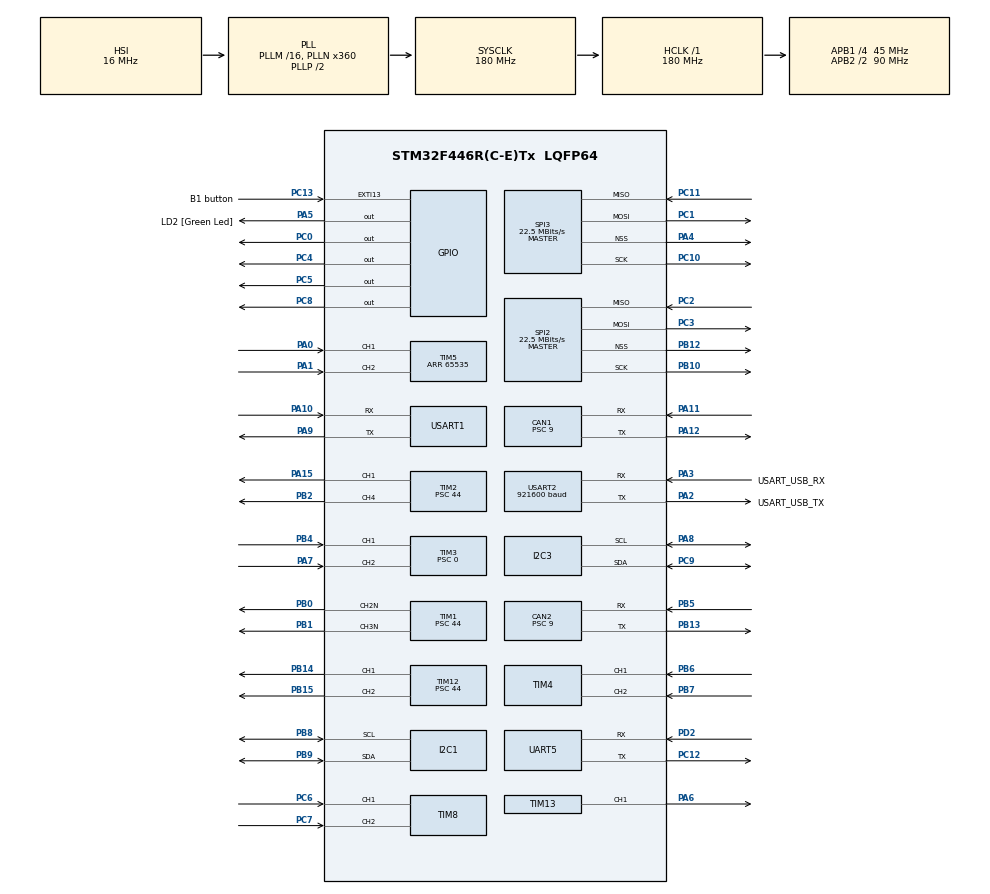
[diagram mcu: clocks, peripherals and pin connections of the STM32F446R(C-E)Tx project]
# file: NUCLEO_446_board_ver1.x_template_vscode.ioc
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CAN1.BS1=CAN_BS1_3TQ
CAN1.BS2=CAN_BS2_1TQ
CAN1.CalculateBaudRate=1000000
CAN1.CalculateTimeBit=1000
CAN1.CalculateTimeQuantum=200.0
CAN1.Prescaler=9
CAN2.BS1=CAN_BS1_3TQ
CAN2.CalculateBaudRate=1000000
CAN2.CalculateTimeBit=1000
CAN2.CalculateTimeQuantum=200.0
CAN2.Prescaler=9
Mcu.Family=STM32F4
Mcu.Name=STM32F446R(C-E)Tx
Mcu.Package=LQFP64
NVIC.CAN1_RX0_IRQn=true\:0\:0\:false\:false\:true\:true\:true\:true
NVIC.CAN1_RX1_IRQn=true\:0\:0\:false\:false\:true\:true\:true\:true
NVIC.CAN2_RX0_IRQn=true\:0\:0\:false\:false\:true\:true\:true\:true
NVIC.CAN2_RX1_IRQn=true\:0\:0\:false\:false\:true\:true\:true\:true
NVIC.PriorityGroup=NVIC_PRIORITYGROUP_0
NVIC.UART5_IRQn=true\:0\:0\:false\:false\:true\:true\:true\:true
NVIC.USART1_IRQn=true\:0\:0\:false\:false\:true\:true\:true\:true
NVIC.USART2_IRQn=true\:0\:0\:false\:false\:true\:true\:true\:true
PA0-WKUP.Signal=S_TIM5_CH1
PA1.Signal=S_TIM5_CH2
PA10.Mode=Asynchronous
PA10.Signal=USART1_RX
PA11.Mode=CAN_Activate
PA11.Signal=CAN1_RX
PA12.Mode=CAN_Activate
PA12.Signal=CAN1_TX
PA13.GPIO_Label=TMS
PA13.Mode=Serial_Wire
PA13.Signal=SYS_JTMS-SWDIO
PA14.GPIO_Label=TCK
PA14.Mode=Serial_Wire
PA14.Signal=SYS_JTCK-SWCLK
PA15.Signal=S_TIM2_CH1_ETR
PA2.GPIO_Label=USART_USB_TX
PA2.Mode=Asynchronous
PA2.Signal=USART2_TX
PA3.GPIO_Label=USART_USB_RX
PA3.Mode=Asynchronous
PA3.Signal=USART2_RX
PA4.Mode=NSS_Signal_Hard_Output
PA4.Signal=SPI3_NSS
PA5.GPIO_Label=LD2 [Green Led]
PA5.PinState=GPIO_PIN_SET
PA5.Signal=GPIO_Output
PA6.Signal=S_TIM13_CH1
PA7.Signal=S_TIM3_CH2
PA8.Mode=I2C
PA8.Signal=I2C3_SCL
PA9.Mode=Asynchronous
PA9.Signal=USART1_TX
PB0.Mode=PWM Generation2 CH2N
PB0.Signal=TIM1_CH2N
PB1.Mode=PWM Generation3 CH3N
PB1.Signal=TIM1_CH3N
PB10.Mode=Full_Duplex_Master
PB10.Signal=SPI2_SCK
PB12.Mode=NSS_Signal_Hard_Output
PB12.Signal=SPI2_NSS
PB13.Mode=CAN_Activate
PB13.Signal=CAN2_TX
PB14.Signal=S_TIM12_CH1
PB15.Signal=S_TIM12_CH2
PB2.Signal=S_TIM2_CH4
PB3.GPIO_Label=SWO
PB3.Signal=SYS_JTDO-SWO
PB4.Signal=S_TIM3_CH1
PB5.Mode=CAN_Activate
PB5.Signal=CAN2_RX
PB6.Signal=S_TIM4_CH1
PB7.Signal=S_TIM4_CH2
PB8.Mode=I2C
PB8.Signal=I2C1_SCL
PB9.Mode=I2C
PB9.Signal=I2C1_SDA
PC0.Signal=GPIO_Output
PC1.Mode=Full_Duplex_Master
PC1.Signal=SPI3_MOSI
PC10.Mode=Full_Duplex_Master
PC10.Signal=SPI3_SCK
PC11.Mode=Full_Duplex_Master
PC11.Signal=SPI3_MISO
PC12.Mode=Asynchronous
PC12.Signal=UART5_TX
PC13.GPIO_Label=B1 button
PC13.GPIO_ModeDefaultEXTI=GPIO_MODE_IT_FALLING
PC13.Signal=GPXTI13
PC14-OSC32_IN.Mode=LSE-External-Oscillator
PC14-OSC32_IN.Signal=RCC_OSC32_IN
PC15-OSC32_OUT.Mode=LSE-External-Oscillator
PC15-OSC32_OUT.Signal=RCC_OSC32_OUT
PC2.Mode=Full_Duplex_Master
PC2.Signal=SPI2_MISO
PC3.Mode=Full_Duplex_Master
PC3.Signal=SPI2_MOSI
PC4.Signal=GPIO_Output
PC5.Signal=GPIO_Output
PC6.Signal=S_TIM8_CH1
PC7.Signal=S_TIM8_CH2
PC8.Signal=GPIO_Output
PC9.Mode=I2C
PC9.Signal=I2C3_SDA
PD2.Mode=Asynchronous
PD2.Signal=UART5_RX
PH0-OSC_IN.Mode=HSE-External-Oscillator
PH0-OSC_IN.Signal=RCC_OSC_IN
PH1-OSC_OUT.Mode=HSE-External-Oscillator
PH1-OSC_OUT.Signal=RCC_OSC_OUT
ProjectManager.HeapSize=0x200
ProjectManager.StackSize=0x400
ProjectManager.TargetToolchain=CMake
RCC.48MHZClocksFreq_Value=84000000
RCC.AHBFreq_Value=180000000
RCC.APB1CLKDivider=RCC_HCLK_DIV4
RCC.APB1Freq_Value=45000000
RCC.APB1TimFreq_Value=90000000
RCC.APB2CLKDivider=RCC_HCLK_DIV2
RCC.APB2Freq_Value=90000000
RCC.APB2TimFreq_Value=180000000
RCC.CortexFreq_Value=180000000
RCC.FLatency-AdvancedSettings=FLASH_LATENCY_5
RCC.HCLKFreq_Value=180000000
RCC.HSE_VALUE=8000000
RCC.HSI_VALUE=16000000
RCC.PLLN=360
RCC.SYSCLKFreq_VALUE=180000000
RCC.SYSCLKSource=RCC_SYSCLKSOURCE_PLLCLK
RCC.USBFreq_Value=180000000
RCC.VCOOutputFreq_Value=360000000
SH.S_TIM12_CH1.0=TIM12_CH1,PWM Generation1 CH1
SH.S_TIM12_CH2.0=TIM12_CH2,PWM Generation2 CH2
SH.S_TIM13_CH1.0=TIM13_CH1,PWM Generation1 CH1
SH.S_TIM2_CH1_ETR.0=TIM2_CH1,PWM Generation1 CH1
SH.S_TIM2_CH4.0=TIM2_CH4,PWM Generation4 CH4
SH.S_TIM3_CH1.0=TIM3_CH1,Encoder_Interface
SH.S_TIM3_CH2.0=TIM3_CH2,Encoder_Interface
SH.S_TIM4_CH1.0=TIM4_CH1,Encoder_Interface
SH.S_TIM4_CH2.0=TIM4_CH2,Encoder_Interface
SH.S_TIM5_CH1.0=TIM5_CH1,Encoder_Interface
SH.S_TIM5_CH2.0=TIM5_CH2,Encoder_Interface
SH.S_TIM8_CH1.0=TIM8_CH1,Encoder_Interface
SH.S_TIM8_CH2.0=TIM8_CH2,Encoder_Interface
SPI2.BaudRatePrescaler=SPI_BAUDRATEPRESCALER_2
SPI2.CalculateBaudRate=22.5 MBits/s
SPI2.Direction=SPI_DIRECTION_2LINES
SPI2.Mode=SPI_MODE_MASTER
SPI2.VirtualNSS=VM_NSSHARD
SPI2.VirtualType=VM_MASTER
SPI3.BaudRatePrescaler=SPI_BAUDRATEPRESCALER_2
SPI3.CalculateBaudRate=22.5 MBits/s
SPI3.Direction=SPI_DIRECTION_2LINES
SPI3.Mode=SPI_MODE_MASTER
SPI3.VirtualNSS=VM_NSSHARD
SPI3.VirtualType=VM_MASTER
TIM1.Channel-PWM\ Generation2\ CH2N=TIM_CHANNEL_2
TIM1.Channel-PWM\ Generation3\ CH3N=TIM_CHANNEL_3
TIM1.Period=99
TIM1.Prescaler=44
TIM12.Channel-PWM\ Generation1\ CH1=TIM_CHANNEL_1
TIM12.Channel-PWM\ Generation2\ CH2=TIM_CHANNEL_2
TIM12.Period=99
TIM12.Prescaler=44
TIM13.Channel=TIM_CHANNEL_1
TIM13.Period=99
TIM13.Prescaler=44
TIM2.Channel-PWM\ Generation1\ CH1=TIM_CHANNEL_1
TIM2.Channel-PWM\ Generation4\ CH4=TIM_CHANNEL_4
TIM2.Period=99
TIM2.Prescaler=44
TIM3.EncoderMode=TIM_ENCODERMODE_TI12
TIM3.Period=65535
TIM3.Prescaler=0
TIM4.EncoderMode=TIM_ENCODERMODE_TI12
TIM5.EncoderMode=TIM_ENCODERMODE_TI12
TIM5.Period=65535
TIM8.EncoderMode=TIM_ENCODERMODE_TI12
UART5.VirtualMode=Asynchronous
USART1.VirtualMode=VM_ASYNC
USART2.BaudRate=921600
USART2.VirtualMode=VM_ASYNC
VP_TIM12_VS_ClockSourceINT.Mode=Internal
VP_TIM13_VS_ClockSourceINT.Mode=Enable_Timer
VP_TIM1_VS_ClockSourceINT.Mode=Internal
VP_TIM2_VS_ClockSourceINT.Mode=Internal
board=NUCLEO-F446RE

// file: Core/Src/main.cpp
/* USER CODE BEGIN Header */
/**
  ******************************************************************************
  * @file           : main.c
  * @brief          : Main program body
  ******************************************************************************
  * @attention
  *
  * Copyright (c) 2025 STMicroelectronics.
  * All rights reserved.
  *
  * This software is licensed under terms that can be found in the LICENSE file
  * in the root directory of this software component.
  * If no LICENSE file comes with this software, it is provided AS-IS.
  *
  ******************************************************************************
  */
/* USER CODE END Header */
#include "main.h"

/* USER CODE BEGIN Includes */
#include <stdio.h>
#include <stdint.h>
#include "stm32f4xx_hal.h"
#include "stm32f4xx_hal_can.h"
#include "RoboMasterOut.h"

#include "timer.hpp"
#include "PWMOut.hpp"
#include "BNO055.hpp"
#include "EncoderIn.hpp"
#include "CANHub.hpp"

/* USER CODE END Includes */

/* USER CODE BEGIN PD */
bool cylinder_poll = 0;
bool cylinder_ring = 0;
int robomasID = 2;
char rev;

/* USER CODE END PD */

CAN_HandleTypeDef hcan1;
CAN_HandleTypeDef hcan2;

I2C_HandleTypeDef hi2c1;
I2C_HandleTypeDef hi2c3;

SPI_HandleTypeDef hspi2;
SPI_HandleTypeDef hspi3;

TIM_HandleTypeDef htim1;
TIM_HandleTypeDef htim2;
TIM_HandleTypeDef htim3;
TIM_HandleTypeDef htim4;
TIM_HandleTypeDef htim5;
TIM_HandleTypeDef htim8;
TIM_HandleTypeDef htim12;
TIM_HandleTypeDef htim13;

UART_HandleTypeDef huart5;
UART_HandleTypeDef huart1;
UART_HandleTypeDef huart2;

void SystemClock_Config(void);
static void MX_GPIO_Init(void);
static void MX_USART2_UART_Init(void);
static void MX_CAN2_Init(void);
static void MX_I2C1_Init(void);
static void MX_I2C3_Init(void);
static void MX_SPI2_Init(void);
static void MX_SPI3_Init(void);
static void MX_TIM1_Init(void);
static void MX_TIM2_Init(void);
static void MX_TIM3_Init(void);
static void MX_TIM4_Init(void);
static void MX_TIM5_Init(void);
static void MX_TIM8_Init(void);
static void MX_TIM12_Init(void);
static void MX_TIM13_Init(void);
static void MX_UART5_Init(void);
static void MX_USART1_UART_Init(void);
static void MX_CAN1_Init(void);

/* USER CODE BEGIN 0 */
// On EXTI (External Interrupt) change detection
void HAL_GPIO_EXTI_Callback(uint16_t GPIO_Pin) {

  // Example for button press handling (Falling edge triggered)
  // if (GPIO_Pin == B1_button_Pin) {
      //  printf("Button Pressed!\n");

      // When you configure the button GPIO with interrupt on both Rising/Falling edges:
      // if (HAL_GPIO_ReadPin(B1_button_GPIO_Port, B1_button_Pin) == GPIO_PIN_SET) {
      //     // Rising edge detected
      //     printf("Button Released!\n");
      // } else {
      //     // Falling edge detected
      //     printf("Button Pressed!\n");
      // }
  }

/* USER CODE END 0 */

int main(void)
{

  /* MCU Configuration--------------------------------------------------------*/

  /* Reset of all peripherals, Initializes the Flash interface and the Systick. */
  HAL_Init();

  /* Configure the system clock */
  SystemClock_Config();

  /* Initialize all configured peripherals */
  MX_GPIO_Init();
  MX_USART2_UART_Init();
  MX_CAN2_Init();
  MX_I2C1_Init();
  MX_I2C3_Init();
  MX_SPI2_Init();
  MX_SPI3_Init();
  MX_TIM1_Init();
  MX_TIM2_Init();
  MX_TIM3_Init();
  MX_TIM4_Init();
  MX_TIM5_Init();
  MX_TIM8_Init();
  MX_TIM12_Init();
  MX_TIM13_Init();
  MX_UART5_Init();
  MX_USART1_UART_Init();
  MX_CAN1_Init();
  /* USER CODE BEGIN 2 */

  // Enable EXTI interrupt
  HAL_NVIC_EnableIRQ(EXTI15_10_IRQn);

  static const float PERIOD_MAIN_LOOP_US = 10000;  // 10 ms

  // Example: Initialize instances for peripherals (after peripherals initialized)
  PWMOut pwm1(&htim1, TIM_CHANNEL_2);
  EncoderIn encoder1(&htim3);
  BNO055 bno055(hi2c1);
  CANHub can2(&hcan2);
  CANHub can1(&hcan1);                 // 受信確認のためCAN1も開く
  RoboMasterOut robomas(&can2);

  // デバッグ: CAN1でも受信が発生したら表示
  can1.attach([&](CANHub &c){
      // 空ハンドラ、rxIrqHandlerでログ済み
  });

  float duty = 0.5;
  int angle_sum;

  /* USER CODE END 2 */

  /* Infinite loop */
  /* USER CODE BEGIN WHILE */
  while (1)
  {

    HAL_GPIO_WritePin(LD2_GPIO_Port, LD2_Pin, HAL_GPIO_ReadPin(B1_button_GPIO_Port, B1_button_Pin) != GPIO_PIN_SET ? GPIO_PIN_SET : GPIO_PIN_RESET);

  // RoboMasterState state = robomas.read(robomasID, RoboMasterOut::C610);

    // HAL_Delay(10);
    if(HAL_UART_Receive(&huart2, (uint8_t *)&rev, 1, 1) == HAL_OK){
       if(rev == 'u'){duty += 0.02;}
       else if(rev == 'd'){duty -= 0.02;}
       else if(rev == 'r'){duty = 0.5;}

       if(rev == 'a'){cylinder_poll = !cylinder_poll;}
       else if(rev == 'b'){cylinder_ring = !cylinder_ring;}

    }
    HAL_GPIO_WritePin(GPIOC, GPIO_PIN_8, cylinder_poll ? GPIO_PIN_SET : GPIO_PIN_RESET);
    HAL_GPIO_WritePin(GPIOC, GPIO_PIN_5, cylinder_ring ? GPIO_PIN_SET : GPIO_PIN_RESET);
    robomas.write(robomasID, duty, RoboMasterOut::C610);
    robomas.update();
    RoboMasterState state = robomas.read(robomasID, RoboMasterOut::C610);

    // printf("duty: %f, angle: %d\r\n", duty, state.angle);
    angle_sum = state.total_rotation * 8192 + state.angle;

    printf("duty: %f, angle: %d, total angle: %d\r\n", duty, state.angle, angle_sum);
    // angle_pre = state.angle;
    // printf("duty: %f, angle: %d\r\n", duty,  state.angle);
    // printf("poll cylinder: %d , ring cylinder: %d\n", cylinder_poll, cylinder_ring);

    /* USER CODE END WHILE */

    /* USER CODE BEGIN 3 */

    adjustCycle(PERIOD_MAIN_LOOP_US);
  }
  /* USER CODE END 3 */
}

void SystemClock_Config(void)
{
  RCC_OscInitTypeDef RCC_OscInitStruct = {0};
  RCC_ClkInitTypeDef RCC_ClkInitStruct = {0};

  /** Configure the main internal regulator output voltage
  */
  __HAL_RCC_PWR_CLK_ENABLE();
  __HAL_PWR_VOLTAGESCALING_CONFIG(PWR_REGULATOR_VOLTAGE_SCALE1);

  /** Initializes the RCC Oscillators according to the specified parameters
  * in the RCC_OscInitTypeDef structure.
  */
  RCC_OscInitStruct.OscillatorType = RCC_OSCILLATORTYPE_HSI;
  RCC_OscInitStruct.HSIState = RCC_HSI_ON;
  RCC_OscInitStruct.HSICalibrationValue = RCC_HSICALIBRATION_DEFAULT;
  RCC_OscInitStruct.PLL.PLLState = RCC_PLL_ON;
  RCC_OscInitStruct.PLL.PLLSource = RCC_PLLSOURCE_HSI;
  RCC_OscInitStruct.PLL.PLLM = 16;
  RCC_OscInitStruct.PLL.PLLN = 360;
  RCC_OscInitStruct.PLL.PLLP = RCC_PLLP_DIV2;
  RCC_OscInitStruct.PLL.PLLQ = 2;
  RCC_OscInitStruct.PLL.PLLR = 2;
  if (HAL_RCC_OscConfig(&RCC_OscInitStruct) != HAL_OK)
  {
    Error_Handler();
  }

  /** Activate the Over-Drive mode
  */
  if (HAL_PWREx_EnableOverDrive() != HAL_OK)
  {
    Error_Handler();
  }

  /** Initializes the CPU, AHB and APB buses clocks
  */
  RCC_ClkInitStruct.ClockType = RCC_CLOCKTYPE_HCLK|RCC_CLOCKTYPE_SYSCLK
                              |RCC_CLOCKTYPE_PCLK1|RCC_CLOCKTYPE_PCLK2;
  RCC_ClkInitStruct.SYSCLKSource = RCC_SYSCLKSOURCE_PLLCLK;
  RCC_ClkInitStruct.AHBCLKDivider = RCC_SYSCLK_DIV1;
  RCC_ClkInitStruct.APB1CLKDivider = RCC_HCLK_DIV4;
  RCC_ClkInitStruct.APB2CLKDivider = RCC_HCLK_DIV2;

  if (HAL_RCC_ClockConfig(&RCC_ClkInitStruct, FLASH_LATENCY_5) != HAL_OK)
  {
    Error_Handler();
  }
}

static void MX_CAN1_Init(void)
{

  hcan1.Instance = CAN1;
  hcan1.Init.Prescaler = 9;
  hcan1.Init.Mode = CAN_MODE_NORMAL;
  hcan1.Init.SyncJumpWidth = CAN_SJW_1TQ;
  hcan1.Init.TimeSeg1 = CAN_BS1_3TQ;
  hcan1.Init.TimeSeg2 = CAN_BS2_1TQ;
  hcan1.Init.TimeTriggeredMode = DISABLE;
  hcan1.Init.AutoBusOff = DISABLE;
  hcan1.Init.AutoWakeUp = DISABLE;
  hcan1.Init.AutoRetransmission = DISABLE;
  hcan1.Init.ReceiveFifoLocked = DISABLE;
  hcan1.Init.TransmitFifoPriority = DISABLE;
  if (HAL_CAN_Init(&hcan1) != HAL_OK)
  {
    Error_Handler();
  }

}

static void MX_CAN2_Init(void)
{

  hcan2.Instance = CAN2;
  hcan2.Init.Prescaler = 9;
  hcan2.Init.Mode = CAN_MODE_NORMAL;
  hcan2.Init.SyncJumpWidth = CAN_SJW_1TQ;
  hcan2.Init.TimeSeg1 = CAN_BS1_3TQ;
  hcan2.Init.TimeSeg2 = CAN_BS2_1TQ;
  hcan2.Init.TimeTriggeredMode = DISABLE;
  hcan2.Init.AutoBusOff = DISABLE;
  hcan2.Init.AutoWakeUp = DISABLE;
  hcan2.Init.AutoRetransmission = DISABLE;
  hcan2.Init.ReceiveFifoLocked = DISABLE;
  hcan2.Init.TransmitFifoPriority = DISABLE;
  if (HAL_CAN_Init(&hcan2) != HAL_OK)
  {
    Error_Handler();
  }

}

static void MX_I2C1_Init(void)
{

  hi2c1.Instance = I2C1;
  hi2c1.Init.ClockSpeed = 100000;
  hi2c1.Init.DutyCycle = I2C_DUTYCYCLE_2;
  hi2c1.Init.OwnAddress1 = 0;
  hi2c1.Init.AddressingMode = I2C_ADDRESSINGMODE_7BIT;
  hi2c1.Init.DualAddressMode = I2C_DUALADDRESS_DISABLE;
  hi2c1.Init.OwnAddress2 = 0;
  hi2c1.Init.GeneralCallMode = I2C_GENERALCALL_DISABLE;
  hi2c1.Init.NoStretchMode = I2C_NOSTRETCH_DISABLE;
  if (HAL_I2C_Init(&hi2c1) != HAL_OK)
  {
    Error_Handler();
  }

}

static void MX_I2C3_Init(void)
{

  hi2c3.Instance = I2C3;
  hi2c3.Init.ClockSpeed = 100000;
  hi2c3.Init.DutyCycle = I2C_DUTYCYCLE_2;
  hi2c3.Init.OwnAddress1 = 0;
  hi2c3.Init.AddressingMode = I2C_ADDRESSINGMODE_7BIT;
  hi2c3.Init.DualAddressMode = I2C_DUALADDRESS_DISABLE;
  hi2c3.Init.OwnAddress2 = 0;
  hi2c3.Init.GeneralCallMode = I2C_GENERALCALL_DISABLE;
  hi2c3.Init.NoStretchMode = I2C_NOSTRETCH_DISABLE;
  if (HAL_I2C_Init(&hi2c3) != HAL_OK)
  {
    Error_Handler();
  }

}

static void MX_SPI2_Init(void)
{

  /* SPI2 parameter configuration*/
  hspi2.Instance = SPI2;
  hspi2.Init.Mode = SPI_MODE_MASTER;
  hspi2.Init.Direction = SPI_DIRECTION_2LINES;
  hspi2.Init.DataSize = SPI_DATASIZE_8BIT;
  hspi2.Init.CLKPolarity = SPI_POLARITY_LOW;
  hspi2.Init.CLKPhase = SPI_PHASE_1EDGE;
  hspi2.Init.NSS = SPI_NSS_HARD_OUTPUT;
  hspi2.Init.BaudRatePrescaler = SPI_BAUDRATEPRESCALER_2;
  hspi2.Init.FirstBit = SPI_FIRSTBIT_MSB;
  hspi2.Init.TIMode = SPI_TIMODE_DISABLE;
  hspi2.Init.CRCCalculation = SPI_CRCCALCULATION_DISABLE;
  hspi2.Init.CRCPolynomial = 10;
  if (HAL_SPI_Init(&hspi2) != HAL_OK)
  {
    Error_Handler();
  }

}

static void MX_SPI3_Init(void)
{

  /* SPI3 parameter configuration*/
  hspi3.Instance = SPI3;
  hspi3.Init.Mode = SPI_MODE_MASTER;
  hspi3.Init.Direction = SPI_DIRECTION_2LINES;
  hspi3.Init.DataSize = SPI_DATASIZE_8BIT;
  hspi3.Init.CLKPolarity = SPI_POLARITY_LOW;
  hspi3.Init.CLKPhase = SPI_PHASE_1EDGE;
  hspi3.Init.NSS = SPI_NSS_HARD_OUTPUT;
  hspi3.Init.BaudRatePrescaler = SPI_BAUDRATEPRESCALER_2;
  hspi3.Init.FirstBit = SPI_FIRSTBIT_MSB;
  hspi3.Init.TIMode = SPI_TIMODE_DISABLE;
  hspi3.Init.CRCCalculation = SPI_CRCCALCULATION_DISABLE;
  hspi3.Init.CRCPolynomial = 10;
  if (HAL_SPI_Init(&hspi3) != HAL_OK)
  {
    Error_Handler();
  }

}

static void MX_TIM1_Init(void)
{

  TIM_ClockConfigTypeDef sClockSourceConfig = {0};
  TIM_MasterConfigTypeDef sMasterConfig = {0};
  TIM_OC_InitTypeDef sConfigOC = {0};
  TIM_BreakDeadTimeConfigTypeDef sBreakDeadTimeConfig = {0};

  htim1.Instance = TIM1;
  htim1.Init.Prescaler = 44;
  htim1.Init.CounterMode = TIM_COUNTERMODE_UP;
  htim1.Init.Period = 99;
  htim1.Init.ClockDivision = TIM_CLOCKDIVISION_DIV1;
  htim1.Init.RepetitionCounter = 0;
  htim1.Init.AutoReloadPreload = TIM_AUTORELOAD_PRELOAD_DISABLE;
  if (HAL_TIM_Base_Init(&htim1) != HAL_OK)
  {
    Error_Handler();
  }
  sClockSourceConfig.ClockSource = TIM_CLOCKSOURCE_INTERNAL;
  if (HAL_TIM_ConfigClockSource(&htim1, &sClockSourceConfig) != HAL_OK)
  {
    Error_Handler();
  }
  if (HAL_TIM_PWM_Init(&htim1) != HAL_OK)
  {
    Error_Handler();
  }
  sMasterConfig.MasterOutputTrigger = TIM_TRGO_RESET;
  sMasterConfig.MasterSlaveMode = TIM_MASTERSLAVEMODE_DISABLE;
  if (HAL_TIMEx_MasterConfigSynchronization(&htim1, &sMasterConfig) != HAL_OK)
  {
    Error_Handler();
  }
  sConfigOC.OCMode = TIM_OCMODE_PWM1;
  sConfigOC.Pulse = 0;
  sConfigOC.OCPolarity = TIM_OCPOLARITY_HIGH;
  sConfigOC.OCNPolarity = TIM_OCNPOLARITY_HIGH;
  sConfigOC.OCFastMode = TIM_OCFAST_DISABLE;
  sConfigOC.OCIdleState = TIM_OCIDLESTATE_RESET;
  sConfigOC.OCNIdleState = TIM_OCNIDLESTATE_RESET;
  if (HAL_TIM_PWM_ConfigChannel(&htim1, &sConfigOC, TIM_CHANNEL_2) != HAL_OK)
  {
    Error_Handler();
  }
  if (HAL_TIM_PWM_ConfigChannel(&htim1, &sConfigOC, TIM_CHANNEL_3) != HAL_OK)
  {
    Error_Handler();
  }
  sBreakDeadTimeConfig.OffStateRunMode = TIM_OSSR_DISABLE;
  sBreakDeadTimeConfig.OffStateIDLEMode = TIM_OSSI_DISABLE;
  sBreakDeadTimeConfig.LockLevel = TIM_LOCKLEVEL_OFF;
  sBreakDeadTimeConfig.DeadTime = 0;
  sBreakDeadTimeConfig.BreakState = TIM_BREAK_DISABLE;
  sBreakDeadTimeConfig.BreakPolarity = TIM_BREAKPOLARITY_HIGH;
  sBreakDeadTimeConfig.AutomaticOutput = TIM_AUTOMATICOUTPUT_DISABLE;
  if (HAL_TIMEx_ConfigBreakDeadTime(&htim1, &sBreakDeadTimeConfig) != HAL_OK)
  {
    Error_Handler();
  }
  HAL_TIM_MspPostInit(&htim1);

}

static void MX_TIM2_Init(void)
{

  TIM_ClockConfigTypeDef sClockSourceConfig = {0};
  TIM_MasterConfigTypeDef sMasterConfig = {0};
  TIM_OC_InitTypeDef sConfigOC = {0};

  htim2.Instance = TIM2;
  htim2.Init.Prescaler = 44;
  htim2.Init.CounterMode = TIM_COUNTERMODE_UP;
  htim2.Init.Period = 99;
  htim2.Init.ClockDivision = TIM_CLOCKDIVISION_DIV1;
  htim2.Init.AutoReloadPreload = TIM_AUTORELOAD_PRELOAD_DISABLE;
  if (HAL_TIM_Base_Init(&htim2) != HAL_OK)
  {
    Error_Handler();
  }
  sClockSourceConfig.ClockSource = TIM_CLOCKSOURCE_INTERNAL;
  if (HAL_TIM_ConfigClockSource(&htim2, &sClockSourceConfig) != HAL_OK)
  {
    Error_Handler();
  }
  if (HAL_TIM_PWM_Init(&htim2) != HAL_OK)
  {
    Error_Handler();
  }
  sMasterConfig.MasterOutputTrigger = TIM_TRGO_RESET;
  sMasterConfig.MasterSlaveMode = TIM_MASTERSLAVEMODE_DISABLE;
  if (HAL_TIMEx_MasterConfigSynchronization(&htim2, &sMasterConfig) != HAL_OK)
  {
    Error_Handler();
  }
  sConfigOC.OCMode = TIM_OCMODE_PWM1;
  sConfigOC.Pulse = 0;
  sConfigOC.OCPolarity = TIM_OCPOLARITY_HIGH;
  sConfigOC.OCFastMode = TIM_OCFAST_DISABLE;
  if (HAL_TIM_PWM_ConfigChannel(&htim2, &sConfigOC, TIM_CHANNEL_1) != HAL_OK)
  {
    Error_Handler();
  }
  if (HAL_TIM_PWM_ConfigChannel(&htim2, &sConfigOC, TIM_CHANNEL_4) != HAL_OK)
  {
    Error_Handler();
  }
  HAL_TIM_MspPostInit(&htim2);

}

static void MX_TIM3_Init(void)
{

  TIM_Encoder_InitTypeDef sConfig = {0};
  TIM_MasterConfigTypeDef sMasterConfig = {0};

  htim3.Instance = TIM3;
  htim3.Init.Prescaler = 0;
  htim3.Init.CounterMode = TIM_COUNTERMODE_UP;
  htim3.Init.Period = 65535;
  htim3.Init.ClockDivision = TIM_CLOCKDIVISION_DIV1;
  htim3.Init.AutoReloadPreload = TIM_AUTORELOAD_PRELOAD_DISABLE;
  sConfig.EncoderMode = TIM_ENCODERMODE_TI12;
  sConfig.IC1Polarity = TIM_ICPOLARITY_RISING;
  sConfig.IC1Selection = TIM_ICSELECTION_DIRECTTI;
  sConfig.IC1Prescaler = TIM_ICPSC_DIV1;
  sConfig.IC1Filter = 0;
  sConfig.IC2Polarity = TIM_ICPOLARITY_RISING;
  sConfig.IC2Selection = TIM_ICSELECTION_DIRECTTI;
  sConfig.IC2Prescaler = TIM_ICPSC_DIV1;
  sConfig.IC2Filter = 0;
  if (HAL_TIM_Encoder_Init(&htim3, &sConfig) != HAL_OK)
  {
    Error_Handler();
  }
  sMasterConfig.MasterOutputTrigger = TIM_TRGO_RESET;
  sMasterConfig.MasterSlaveMode = TIM_MASTERSLAVEMODE_DISABLE;
  if (HAL_TIMEx_MasterConfigSynchronization(&htim3, &sMasterConfig) != HAL_OK)
  {
    Error_Handler();
  }

}

static void MX_TIM4_Init(void)
{

  TIM_Encoder_InitTypeDef sConfig = {0};
  TIM_MasterConfigTypeDef sMasterConfig = {0};

  htim4.Instance = TIM4;
  htim4.Init.Prescaler = 0;
  htim4.Init.CounterMode = TIM_COUNTERMODE_UP;
  htim4.Init.Period = 65535;
  htim4.Init.ClockDivision = TIM_CLOCKDIVISION_DIV1;
  htim4.Init.AutoReloadPreload = TIM_AUTORELOAD_PRELOAD_DISABLE;
  sConfig.EncoderMode = TIM_ENCODERMODE_TI12;
  sConfig.IC1Polarity = TIM_ICPOLARITY_RISING;
  sConfig.IC1Selection = TIM_ICSELECTION_DIRECTTI;
  sConfig.IC1Prescaler = TIM_ICPSC_DIV1;
  sConfig.IC1Filter = 0;
  sConfig.IC2Polarity = TIM_ICPOLARITY_RISING;
  sConfig.IC2Selection = TIM_ICSELECTION_DIRECTTI;
  sConfig.IC2Prescaler = TIM_ICPSC_DIV1;
  sConfig.IC2Filter = 0;
  if (HAL_TIM_Encoder_Init(&htim4, &sConfig) != HAL_OK)
  {
    Error_Handler();
  }
  sMasterConfig.MasterOutputTrigger = TIM_TRGO_RESET;
  sMasterConfig.MasterSlaveMode = TIM_MASTERSLAVEMODE_DISABLE;
  if (HAL_TIMEx_MasterConfigSynchronization(&htim4, &sMasterConfig) != HAL_OK)
  {
    Error_Handler();
  }

}

static void MX_TIM5_Init(void)
{

  TIM_Encoder_InitTypeDef sConfig = {0};
  TIM_MasterConfigTypeDef sMasterConfig = {0};

  htim5.Instance = TIM5;
  htim5.Init.Prescaler = 0;
  htim5.Init.CounterMode = TIM_COUNTERMODE_UP;
  htim5.Init.Period = 65535;
  htim5.Init.ClockDivision = TIM_CLOCKDIVISION_DIV1;
  htim5.Init.AutoReloadPreload = TIM_AUTORELOAD_PRELOAD_DISABLE;
  sConfig.EncoderMode = TIM_ENCODERMODE_TI12;
  sConfig.IC1Polarity = TIM_ICPOLARITY_RISING;
  sConfig.IC1Selection = TIM_ICSELECTION_DIRECTTI;
  sConfig.IC1Prescaler = TIM_ICPSC_DIV1;
  sConfig.IC1Filter = 0;
  sConfig.IC2Polarity = TIM_ICPOLARITY_RISING;
  sConfig.IC2Selection = TIM_ICSELECTION_DIRECTTI;
  sConfig.IC2Prescaler = TIM_ICPSC_DIV1;
  sConfig.IC2Filter = 0;
  if (HAL_TIM_Encoder_Init(&htim5, &sConfig) != HAL_OK)
  {
    Error_Handler();
  }
  sMasterConfig.MasterOutputTrigger = TIM_TRGO_RESET;
  sMasterConfig.MasterSlaveMode = TIM_MASTERSLAVEMODE_DISABLE;
  if (HAL_TIMEx_MasterConfigSynchronization(&htim5, &sMasterConfig) != HAL_OK)
  {
    Error_Handler();
  }

}

static void MX_TIM8_Init(void)
{

  TIM_Encoder_InitTypeDef sConfig = {0};
  TIM_MasterConfigTypeDef sMasterConfig = {0};

  htim8.Instance = TIM8;
  htim8.Init.Prescaler = 0;
  htim8.Init.CounterMode = TIM_COUNTERMODE_UP;
  htim8.Init.Period = 65535;
  htim8.Init.ClockDivision = TIM_CLOCKDIVISION_DIV1;
  htim8.Init.RepetitionCounter = 0;
  htim8.Init.AutoReloadPreload = TIM_AUTORELOAD_PRELOAD_DISABLE;
  sConfig.EncoderMode = TIM_ENCODERMODE_TI12;
  sConfig.IC1Polarity = TIM_ICPOLARITY_RISING;
  sConfig.IC1Selection = TIM_ICSELECTION_DIRECTTI;
  sConfig.IC1Prescaler = TIM_ICPSC_DIV1;
  sConfig.IC1Filter = 0;
  sConfig.IC2Polarity = TIM_ICPOLARITY_RISING;
  sConfig.IC2Selection = TIM_ICSELECTION_DIRECTTI;
  sConfig.IC2Prescaler = TIM_ICPSC_DIV1;
  sConfig.IC2Filter = 0;
  if (HAL_TIM_Encoder_Init(&htim8, &sConfig) != HAL_OK)
  {
    Error_Handler();
  }
  sMasterConfig.MasterOutputTrigger = TIM_TRGO_RESET;
  sMasterConfig.MasterSlaveMode = TIM_MASTERSLAVEMODE_DISABLE;
  if (HAL_TIMEx_MasterConfigSynchronization(&htim8, &sMasterConfig) != HAL_OK)
  {
    Error_Handler();
  }

}

static void MX_TIM12_Init(void)
{

  TIM_ClockConfigTypeDef sClockSourceConfig = {0};
  TIM_OC_InitTypeDef sConfigOC = {0};

  htim12.Instance = TIM12;
  htim12.Init.Prescaler = 44;
  htim12.Init.CounterMode = TIM_COUNTERMODE_UP;
  htim12.Init.Period = 99;
  htim12.Init.ClockDivision = TIM_CLOCKDIVISION_DIV1;
  htim12.Init.AutoReloadPreload = TIM_AUTORELOAD_PRELOAD_DISABLE;
  if (HAL_TIM_Base_Init(&htim12) != HAL_OK)
  {
    Error_Handler();
  }
  sClockSourceConfig.ClockSource = TIM_CLOCKSOURCE_INTERNAL;
  if (HAL_TIM_ConfigClockSource(&htim12, &sClockSourceConfig) != HAL_OK)
  {
    Error_Handler();
  }
  if (HAL_TIM_PWM_Init(&htim12) != HAL_OK)
  {
    Error_Handler();
  }
  sConfigOC.OCMode = TIM_OCMODE_PWM1;
  sConfigOC.Pulse = 0;
  sConfigOC.OCPolarity = TIM_OCPOLARITY_HIGH;
  sConfigOC.OCFastMode = TIM_OCFAST_DISABLE;
  if (HAL_TIM_PWM_ConfigChannel(&htim12, &sConfigOC, TIM_CHANNEL_1) != HAL_OK)
  {
    Error_Handler();
  }
  if (HAL_TIM_PWM_ConfigChannel(&htim12, &sConfigOC, TIM_CHANNEL_2) != HAL_OK)
  {
    Error_Handler();
  }
  HAL_TIM_MspPostInit(&htim12);

}

static void MX_TIM13_Init(void)
{

  TIM_OC_InitTypeDef sConfigOC = {0};

  htim13.Instance = TIM13;
  htim13.Init.Prescaler = 44;
  htim13.Init.CounterMode = TIM_COUNTERMODE_UP;
  htim13.Init.Period = 99;
  htim13.Init.ClockDivision = TIM_CLOCKDIVISION_DIV1;
  htim13.Init.AutoReloadPreload = TIM_AUTORELOAD_PRELOAD_DISABLE;
  if (HAL_TIM_Base_Init(&htim13) != HAL_OK)
  {
    Error_Handler();
  }
  if (HAL_TIM_PWM_Init(&htim13) != HAL_OK)
  {
    Error_Handler();
  }
  sConfigOC.OCMode = TIM_OCMODE_PWM1;
  sConfigOC.Pulse = 0;
  sConfigOC.OCPolarity = TIM_OCPOLARITY_HIGH;
  sConfigOC.OCFastMode = TIM_OCFAST_DISABLE;
  if (HAL_TIM_PWM_ConfigChannel(&htim13, &sConfigOC, TIM_CHANNEL_1) != HAL_OK)
  {
    Error_Handler();
  }
  HAL_TIM_MspPostInit(&htim13);

}

static void MX_UART5_Init(void)
{

  huart5.Instance = UART5;
  huart5.Init.BaudRate = 115200;
  huart5.Init.WordLength = UART_WORDLENGTH_8B;
  huart5.Init.StopBits = UART_STOPBITS_1;
  huart5.Init.Parity = UART_PARITY_NONE;
  huart5.Init.Mode = UART_MODE_TX_RX;
  huart5.Init.HwFlowCtl = UART_HWCONTROL_NONE;
  huart5.Init.OverSampling = UART_OVERSAMPLING_16;
  if (HAL_UART_Init(&huart5) != HAL_OK)
  {
    Error_Handler();
  }

}

static void MX_USART1_UART_Init(void)
{

  huart1.Instance = USART1;
  huart1.Init.BaudRate = 115200;
  huart1.Init.WordLength = UART_WORDLENGTH_8B;
  huart1.Init.StopBits = UART_STOPBITS_1;
  huart1.Init.Parity = UART_PARITY_NONE;
  huart1.Init.Mode = UART_MODE_TX_RX;
  huart1.Init.HwFlowCtl = UART_HWCONTROL_NONE;
  huart1.Init.OverSampling = UART_OVERSAMPLING_16;
  if (HAL_UART_Init(&huart1) != HAL_OK)
  {
    Error_Handler();
  }

}

static void MX_USART2_UART_Init(void)
{

  huart2.Instance = USART2;
  huart2.Init.BaudRate = 921600;
  huart2.Init.WordLength = UART_WORDLENGTH_8B;
  huart2.Init.StopBits = UART_STOPBITS_1;
  huart2.Init.Parity = UART_PARITY_NONE;
  huart2.Init.Mode = UART_MODE_TX_RX;
  huart2.Init.HwFlowCtl = UART_HWCONTROL_NONE;
  huart2.Init.OverSampling = UART_OVERSAMPLING_16;
  if (HAL_UART_Init(&huart2) != HAL_OK)
  {
    Error_Handler();
  }

}

static void MX_GPIO_Init(void)
{
  GPIO_InitTypeDef GPIO_InitStruct = {0};

  /* GPIO Ports Clock Enable */
  __HAL_RCC_GPIOC_CLK_ENABLE();
  __HAL_RCC_GPIOH_CLK_ENABLE();
  __HAL_RCC_GPIOA_CLK_ENABLE();
  __HAL_RCC_GPIOB_CLK_ENABLE();
  __HAL_RCC_GPIOD_CLK_ENABLE();

  /*Configure GPIO pin Output Level */
  HAL_GPIO_WritePin(GPIOC, GPIO_PIN_0|GPIO_PIN_4|GPIO_PIN_5|GPIO_PIN_8, GPIO_PIN_RESET);

  /*Configure GPIO pin Output Level */
  HAL_GPIO_WritePin(LD2_GPIO_Port, LD2_Pin, GPIO_PIN_SET);

  /*Configure GPIO pin : B1_button_Pin */
  GPIO_InitStruct.Pin = B1_button_Pin;
  GPIO_InitStruct.Mode = GPIO_MODE_IT_FALLING;
  GPIO_InitStruct.Pull = GPIO_NOPULL;
  HAL_GPIO_Init(B1_button_GPIO_Port, &GPIO_InitStruct);

  /*Configure GPIO pins : PC0 PC4 PC5 PC8 */
  GPIO_InitStruct.Pin = GPIO_PIN_0|GPIO_PIN_4|GPIO_PIN_5|GPIO_PIN_8;
  GPIO_InitStruct.Mode = GPIO_MODE_OUTPUT_PP;
  GPIO_InitStruct.Pull = GPIO_NOPULL;
  GPIO_InitStruct.Speed = GPIO_SPEED_FREQ_LOW;
  HAL_GPIO_Init(GPIOC, &GPIO_InitStruct);

  /*Configure GPIO pin : LD2_Pin */
  GPIO_InitStruct.Pin = LD2_Pin;
  GPIO_InitStruct.Mode = GPIO_MODE_OUTPUT_PP;
  GPIO_InitStruct.Pull = GPIO_NOPULL;
  GPIO_InitStruct.Speed = GPIO_SPEED_FREQ_LOW;
  HAL_GPIO_Init(LD2_GPIO_Port, &GPIO_InitStruct);

}

/* USER CODE END 4 */

void Error_Handler(void)
{
  __disable_irq();
  while (1)
  {
  }
}
